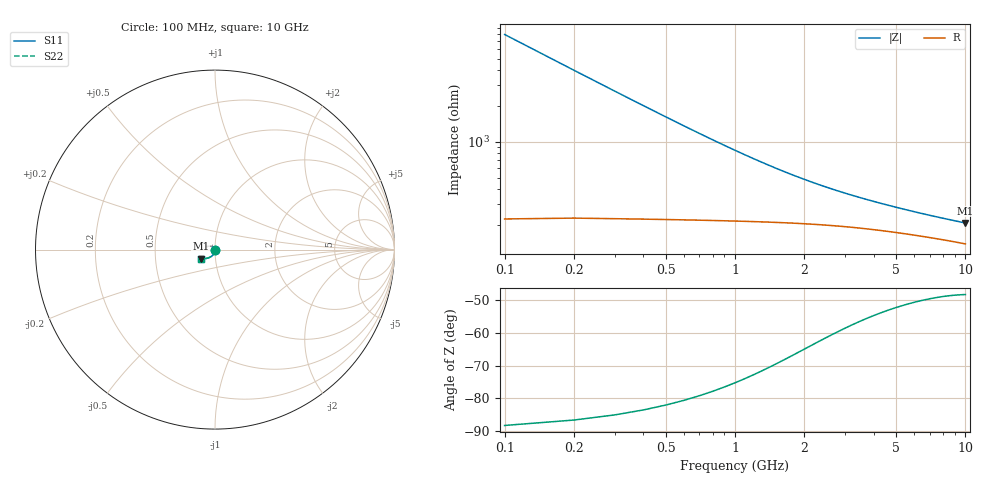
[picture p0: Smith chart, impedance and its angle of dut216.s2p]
! Touchstone file exported from HFSS 2024.1.0
!  File:  C:/UserFiles/LocalFiles/RDL_TSV_Batchsim/temp_TSV1_216_1778758126.aedt
!  Generated:  07:32:41 PM May 14, 2026
!  Design:  TSV1
!  Project:  temp_TSV1_216_1778758126
!  Setup:  Setup1
!  Solution:  Sweep
! Variables:
!  dtsv = 19.41um
!  hbump = 3um
!  htsv = 84.87um
!  lrdl = 252.1521522um
!  p = 40
!  p1 = 50.89um
!  t = 500um
!  trdl = 3um
!  wrdl = 24.89489489um
# GHz S MA R 50.000000
! Terminal data exported
! Port[1] = TSV22_T1
! Port[2] = TSV22_T2
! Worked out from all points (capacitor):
!   100 points, 100 MHz to 10 GHz, reference 50 ohm
!   read as one part in shunt: C = 199 fF near 100 MHz
!   lowest |Z| = 208 ohm at 10 GHz (marker M1)
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0.1  0.002808 -90.3  0.9998 -0.2  0.9998 -0.2  0.002808 -90.3
! Gamma 0 0 0 0
! Port Impedance 50 0 50 0
0.2  0.00563 -93.1  0.9995 -0.4  0.9995 -0.4  0.00563 -93.1
0.3  0.008428 -95.1  0.9991 -0.6  0.9991 -0.6  0.008428 -95.1
0.4  0.01119 -97.0  0.9984 -0.8  0.9984 -0.8  0.01119 -97.0
0.5  0.0139 -98.9  0.9976 -1.0  0.9976 -1.0  0.0139 -98.9
0.6  0.01656 -100.7  0.9967 -1.1  0.9967 -1.1  0.01656 -100.7
0.7  0.01916 -102.4  0.9956 -1.3  0.9956 -1.3  0.01916 -102.4
0.8  0.02168 -104.1  0.9945 -1.5  0.9945 -1.5  0.02168 -104.1
0.9  0.02414 -105.8  0.9933 -1.6  0.9933 -1.6  0.02414 -105.8
1.1  0.0288 -108.9  0.9906 -1.9  0.9906 -1.9  0.0288 -108.9
1.4  0.03517 -113.1  0.9862 -2.3  0.9862 -2.3  0.03517 -113.1
1.6  0.03901 -115.7  0.9832 -2.5  0.9832 -2.5  0.03901 -115.7
1.8  0.04253 -118.1  0.9803 -2.7  0.9803 -2.7  0.04253 -118.1
2.1  0.04728 -121.2  0.9759 -3.0  0.9759 -3.0  0.04728 -121.2
2.5  0.05277 -124.8  0.9705 -3.3  0.9705 -3.3  0.05277 -124.8
2.9  0.05745 -127.8  0.9655 -3.6  0.9655 -3.6  0.05745 -127.8
3.4  0.06246 -130.9  0.96 -3.9  0.96 -3.9  0.06246 -130.9
4.2  0.06904 -134.8  0.9525 -4.2  0.9525 -4.2  0.06904 -134.8
5.1  0.07502 -138.0  0.9456 -4.6  0.9456 -4.6  0.07501 -138.0
6.7  0.08321 -142.1  0.936 -5.2  0.936 -5.2  0.08321 -142.1
8.4  0.08972 -145.1  0.9285 -5.8  0.9285 -5.8  0.08972 -145.1
10  0.0945 -147.1  0.923 -6.3  0.923 -6.3  0.0945 -147.1
